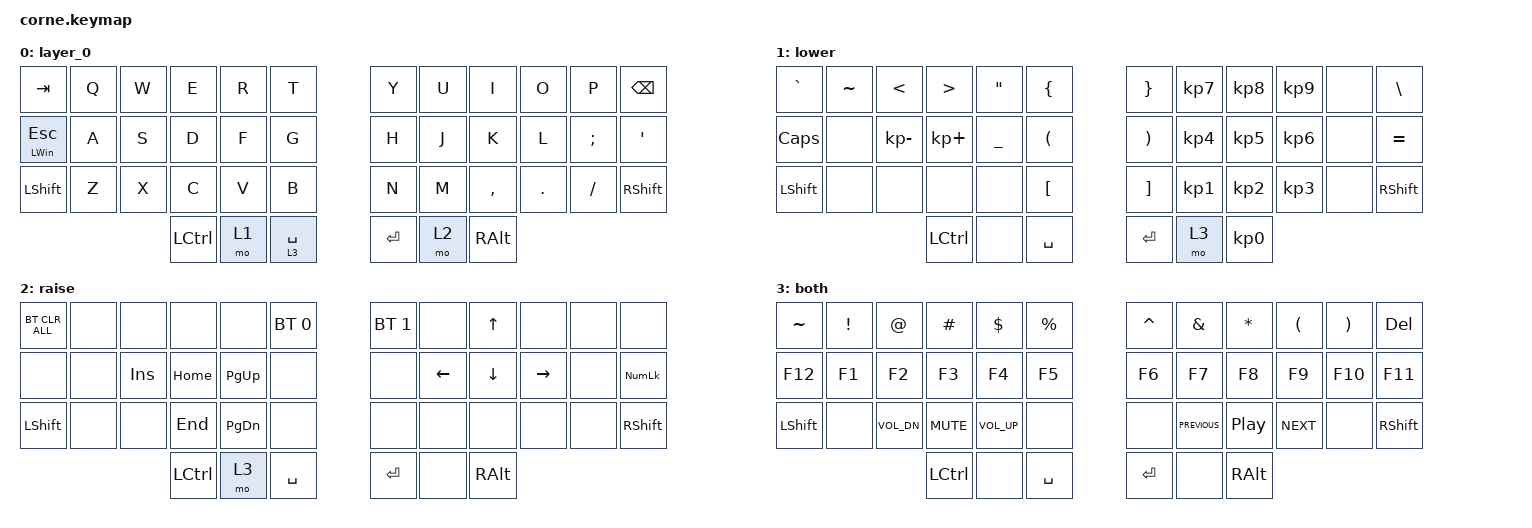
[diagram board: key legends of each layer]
#include <behaviors.dtsi>
#include <dt-bindings/zmk/bt.h>
#include <dt-bindings/zmk/keys.h>

/ {
    keymap {
        compatible = "zmk,keymap";

        layer_0 {
            bindings = <
&kp TAB           &kp Q  &kp W  &kp E      &kp R  &kp T          &kp Y      &kp U  &kp I      &kp O    &kp P     &kp BSPC
&mt LEFT_WIN ESC  &kp A  &kp S  &kp D      &kp F  &kp G          &kp H      &kp J  &kp K      &kp L    &kp SEMI  &kp SQT
&kp LSHFT         &kp Z  &kp X  &kp C      &kp V  &kp B          &kp N      &kp M  &kp COMMA  &kp DOT  &kp FSLH  &kp RSHFT
                                &kp LCTRL  &mo 1  &lt 3 SPACE    &kp ENTER  &mo 2  &kp RALT
            >;
        };

        lower {
            bindings = <
&kp GRAVE  &kp TILDE  &kp LESS_THAN  &kp GREATER_THAN  &kp DOUBLE_QUOTES  &kp LEFT_BRACE          &kp RBRC               &kp KP_NUMBER_7  &kp KP_NUMBER_8  &kp KP_NUMBER_9  &none  &kp BACKSLASH
&kp CAPS   &none      &kp KP_MINUS   &kp KP_PLUS       &kp UNDERSCORE     &kp LEFT_PARENTHESIS    &kp RIGHT_PARENTHESIS  &kp KP_NUMBER_4  &kp KP_NUMBER_5  &kp KP_NUMBER_6  &none  &kp EQUAL
&kp LSHFT  &none      &none          &none             &none              &kp LEFT_BRACKET        &kp RIGHT_BRACKET      &kp KP_NUMBER_1  &kp KP_NUMBER_2  &kp KP_NUMBER_3  &none  &kp RSHFT
                                     &kp LCTRL         &none              &kp SPACE               &kp RET                &mo 3            &kp KP_N0
            >;
        };

        raise {
            bindings = <
&bt BT_CLR_ALL  &none  &none       &none      &none      &bt BT_SEL 0    &bt BT_SEL 1  &none     &kp UP_ARROW  &none      &none  &none
&none           &none  &kp INSERT  &kp HOME   &kp PG_UP  &none           &none         &kp LEFT  &kp DOWN      &kp RIGHT  &none  &kp KP_NUMLOCK
&kp LSHFT       &none  &none       &kp END    &kp PG_DN  &none           &none         &none     &none         &none      &none  &kp RSHFT
                                   &kp LCTRL  &mo 3      &kp SPACE       &kp RET       &none     &kp RALT
            >;
        };

        both {
            bindings = <
&kp TILDE  &kp EXCLAMATION  &kp AT_SIGN   &kp POUND   &kp DOLLAR       &kp PERCENT    &kp CARET  &kp AMPERSAND   &kp ASTERISK      &kp LEFT_PARENTHESIS  &kp RIGHT_PARENTHESIS  &kp DEL
&kp F12    &kp F1           &kp F2        &kp F3      &kp F4           &kp F5         &kp F6     &kp F7          &kp F8            &kp F9                &kp F10                &kp F11
&kp LSHFT  &none            &kp C_VOL_DN  &kp C_MUTE  &kp C_VOLUME_UP  &none          &none      &kp C_PREVIOUS  &kp C_PLAY_PAUSE  &kp C_NEXT            &none                  &kp RSHFT
                                          &kp LCTRL   &none            &kp SPACE      &kp RET    &none           &kp RALT
            >;
        };
    };
};
